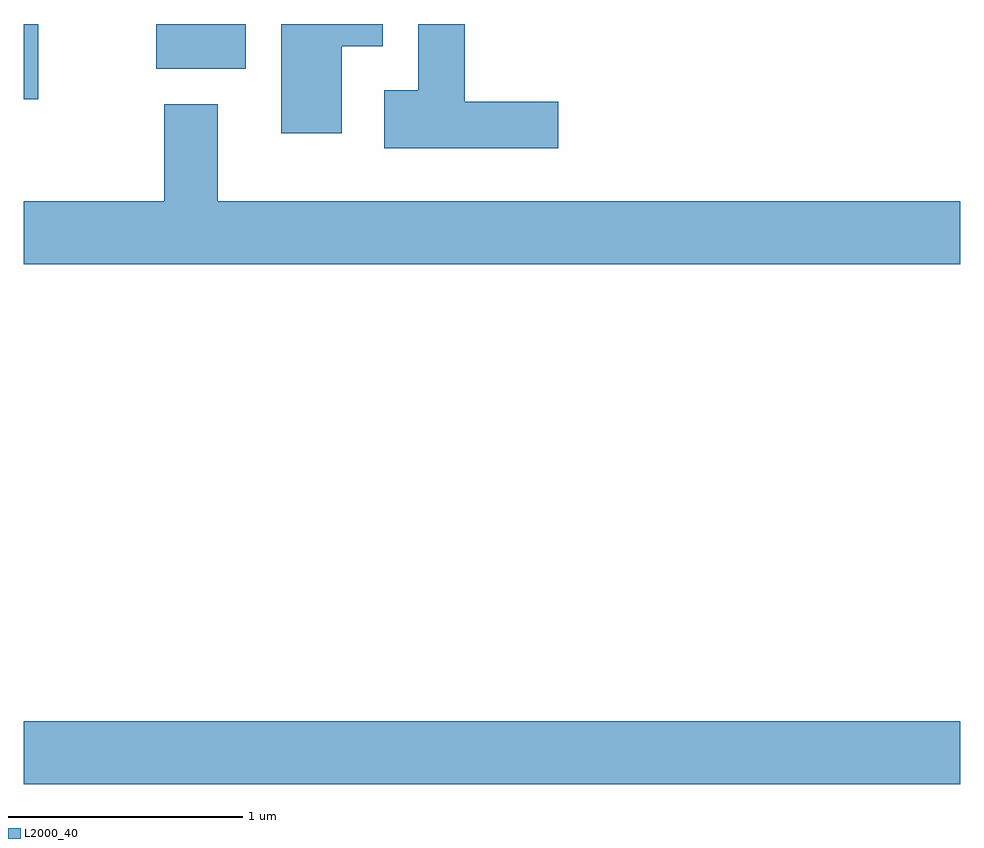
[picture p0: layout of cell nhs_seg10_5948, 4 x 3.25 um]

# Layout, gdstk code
import gdstk
lib = gdstk.Library(unit=1e-6, precision=1e-09)
def R(c, l, rs):  # rectangles x0, y0, x1, y1
    for r in rs: c.add(gdstk.rectangle(r[:2], r[2:], *l))
def P(c, l, *ps):  # polygons
    for p in ps: c.add(gdstk.Polygon(p, *l))
L2000_40 = (2000, 40)

nhs_seg10_5948 = lib.new_cell('nhs_seg10_5948')
R(nhs_seg10_5948, L2000_40, [(361.611,2087.276,365.611,2087.544), (361.611,2090.201,361.674,2090.522), (362.176,2090.331,362.559,2090.522)])
P(nhs_seg10_5948, L2000_40, [(363.894,2090.189),(363.494,2090.189),(363.494,2090.522),(363.296,2090.522),(363.296,2090.239),(363.151,2090.239),(363.151,2089.991),(363.894,2089.991)],
  [(362.969,2090.426),(363.144,2090.426),(363.144,2090.522),(362.711,2090.522),(362.711,2090.056),(362.969,2090.056)],
  [(365.611,2089.764),(362.439,2089.764),(362.439,2090.179),(362.211,2090.179),(362.211,2089.764),(361.611,2089.764),(361.611,2089.496),(365.611,2089.496)])

lib.write_gds('nhs_seg10_5948.gds')
